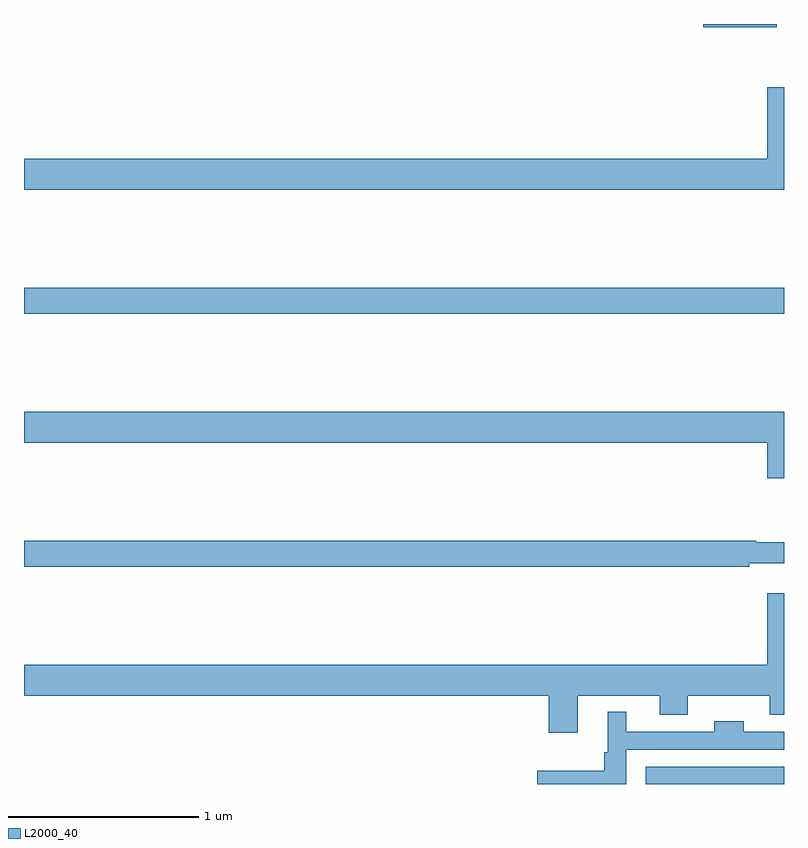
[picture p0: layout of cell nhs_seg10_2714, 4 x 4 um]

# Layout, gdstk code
import gdstk
lib = gdstk.Library(unit=1e-6, precision=1e-09)
def R(c, l, rs):  # rectangles x0, y0, x1, y1
    for r in rs: c.add(gdstk.rectangle(r[:2], r[2:], *l))
def P(c, l, *ps):  # polygons
    for p in ps: c.add(gdstk.Polygon(p, *l))
L2000_40 = (2000, 40)

nhs_seg10_2714 = lib.new_cell('nhs_seg10_2714')
R(nhs_seg10_2714, L2000_40, [(257,1320.976,261,1321.112), (260.574,1322.483,260.962,1322.5)])
P(nhs_seg10_2714, L2000_40, [(261,1322.167),(260.912,1322.167),(260.912,1321.792),(257,1321.792),(257,1321.628),(261,1321.628)],
  [(261,1320.46),(257,1320.46),(257,1320.296),(260.912,1320.296),(260.912,1320.108),(261,1320.108)],
  [(260.816,1319.663),(261,1319.663),(261,1319.773),(260.855,1319.773),(260.855,1319.78),(257,1319.78),(257,1319.644),(260.816,1319.644)],
  [(259.915,1318.964),(260.345,1318.964),(260.345,1318.865),(260.493,1318.865),(260.493,1318.964),(260.926,1318.964),(260.926,1318.865),(261,1318.865),(261,1319.503),(260.912,1319.503),(260.912,1319.128),(257,1319.128),(257,1318.964),(259.763,1318.964),(259.763,1318.77),(259.915,1318.77)],
  [(260.169,1318.68),(261,1318.68),(261,1318.776),(260.787,1318.776),(260.787,1318.831),(260.632,1318.831),(260.632,1318.776),(260.17,1318.776),(260.17,1318.879),(260.072,1318.879),(260.072,1318.666),(260.053,1318.666),(260.053,1318.57),(259.7,1318.57),(259.7,1318.5),(260.169,1318.5)],
  [(261,1318.59),(260.495,1318.59),(260.495,1318.591),(260.273,1318.591),(260.273,1318.5),(261,1318.5)])

lib.write_gds('nhs_seg10_2714.gds')
